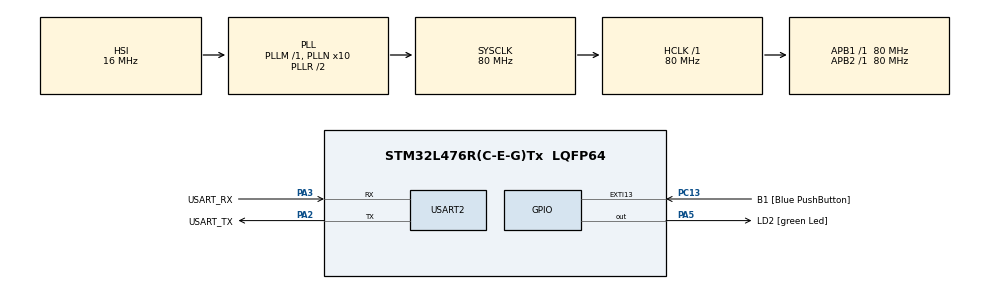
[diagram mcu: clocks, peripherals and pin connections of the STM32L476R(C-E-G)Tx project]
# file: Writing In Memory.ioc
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Mcu.Family=STM32L4
Mcu.Name=STM32L476R(C-E-G)Tx
Mcu.Package=LQFP64
NVIC.PriorityGroup=NVIC_PRIORITYGROUP_4
PA13\ (JTMS-SWDIO).GPIO_Label=TMS
PA13\ (JTMS-SWDIO).Mode=Serial_Wire
PA13\ (JTMS-SWDIO).Signal=SYS_JTMS-SWDIO
PA14\ (JTCK-SWCLK).GPIO_Label=TCK
PA14\ (JTCK-SWCLK).Mode=Serial_Wire
PA14\ (JTCK-SWCLK).Signal=SYS_JTCK-SWCLK
PA2.GPIO_Label=USART_TX
PA2.GPIO_Mode=GPIO_MODE_AF_PP
PA2.GPIO_PuPd=GPIO_NOPULL
PA2.GPIO_Speed=GPIO_SPEED_FREQ_VERY_HIGH
PA2.Mode=Asynchronous
PA2.Signal=USART2_TX
PA3.GPIO_Label=USART_RX
PA3.GPIO_Mode=GPIO_MODE_AF_PP
PA3.GPIO_PuPd=GPIO_NOPULL
PA3.GPIO_Speed=GPIO_SPEED_FREQ_VERY_HIGH
PA3.Mode=Asynchronous
PA3.Signal=USART2_RX
PA5.GPIO_Label=LD2 [green Led]
PA5.GPIO_ModeDefaultOutputPP=GPIO_MODE_OUTPUT_PP
PA5.GPIO_PuPd=GPIO_NOPULL
PA5.GPIO_Speed=GPIO_SPEED_FREQ_LOW
PA5.Signal=GPIO_Output
PB3\ (JTDO-TRACESWO).GPIO_Label=SWO
PB3\ (JTDO-TRACESWO).Signal=SYS_JTDO-SWO
PC13.GPIO_Label=B1 [Blue PushButton]
PC13.GPIO_ModeDefaultEXTI=GPIO_MODE_IT_FALLING
PC13.GPIO_PuPd=GPIO_NOPULL
PC13.Signal=GPXTI13
PC14-OSC32_IN\ (PC14).Mode=LSE-External-Oscillator
PC14-OSC32_IN\ (PC14).Signal=RCC_OSC32_IN
PC15-OSC32_OUT\ (PC15).Mode=LSE-External-Oscillator
PC15-OSC32_OUT\ (PC15).Signal=RCC_OSC32_OUT
PH0-OSC_IN\ (PH0).Signal=RCC_OSC_IN
PH1-OSC_OUT\ (PH1).Signal=RCC_OSC_OUT
ProjectManager.HeapSize=0x200
ProjectManager.StackSize=0x400
ProjectManager.TargetToolchain=STM32CubeIDE
RCC.ADCFreq_Value=64000000
RCC.AHBFreq_Value=80000000
RCC.APB1Freq_Value=80000000
RCC.APB1TimFreq_Value=80000000
RCC.APB2Freq_Value=80000000
RCC.APB2TimFreq_Value=80000000
RCC.CortexFreq_Value=80000000
RCC.HCLKFreq_Value=80000000
RCC.HSE_VALUE=8000000
RCC.HSI_VALUE=16000000
RCC.MSI_VALUE=4000000
RCC.PLLN=10
RCC.PLLSourceVirtual=RCC_PLLSOURCE_HSI
RCC.PREFETCH_ENABLE=1
RCC.SYSCLKFreq_VALUE=80000000
RCC.SYSCLKSource=RCC_SYSCLKSOURCE_PLLCLK
RCC.USBFreq_Value=64000000
RCC.VCOOutputFreq_Value=160000000
USART2.VirtualMode-Asynchronous=VM_ASYNC
board=NUCLEO-L476RG

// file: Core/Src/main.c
/* USER CODE BEGIN Header */
/**
  ******************************************************************************
  * @file           : main.c
  * @brief          : Main program body
  ******************************************************************************
  * @attention
  *
  * Copyright (c) 2026 STMicroelectronics.
  * All rights reserved.
  *
  * This software is licensed under terms that can be found in the LICENSE file
  * in the root directory of this software component.
  * If no LICENSE file comes with this software, it is provided AS-IS.
  *
  ******************************************************************************
  */
/* USER CODE END Header */
#include "main.h"

UART_HandleTypeDef huart2;

/* USER CODE BEGIN PV */
#define KEY1_VAL      0x45670123U
#define KEY2_VAL      0xCDEF89ABU

#define FLASH_ERRORS  0x0000C3FAU

/* USER CODE END PV */

void SystemClock_Config(void);
static void MX_GPIO_Init(void);
static void MX_USART2_UART_Init(void);

/* USER CODE BEGIN 0 */
static void flash_wait(void)   { while (FLASH->SR & FLASH_SR_BSY); }
static void flash_clear(void)  { FLASH->SR = FLASH_ERRORS | FLASH_SR_EOP; } /* écrire 1 efface */
static void flash_lock(void)   { FLASH->CR |= FLASH_CR_LOCK; }

static void flash_unlock(void)
{
    if (FLASH->CR & FLASH_CR_LOCK) {
        FLASH->KEYR = KEY1_VAL;
        FLASH->KEYR = KEY2_VAL;
    }
}

static uint32_t flash_write_dword(uint32_t addr, uint32_t lo, uint32_t hi)
{
    uint32_t sr;
    flash_wait();
    flash_clear();
    FLASH->CR |= FLASH_CR_PG;
    *(volatile uint32_t *)addr       = lo;   /* 1er mot  */
    *(volatile uint32_t *)(addr + 4) = hi;   /* 2e mot : déclenche la programmation */
    flash_wait();
    sr = FLASH->SR;
    flash_clear();
    FLASH->CR &= ~FLASH_CR_PG;
    return sr;
}

static uint32_t flash_mass_erase_bank2(void)
{
    uint32_t sr;
    flash_wait();
    flash_clear();
    FLASH->CR |= FLASH_CR_MER2;
    FLASH->CR |= FLASH_CR_STRT;
    flash_wait();
    sr = FLASH->SR;
    flash_clear();
    FLASH->CR &= ~FLASH_CR_MER2;
    return sr;
}

/* USER CODE END 0 */

int main(void)
{

  /* MCU Configuration--------------------------------------------------------*/

  /* Reset of all peripherals, Initializes the Flash interface and the Systick. */
  HAL_Init();

  /* Configure the system clock */
  SystemClock_Config();

  /* Initialize all configured peripherals */
  MX_GPIO_Init();
  MX_USART2_UART_Init();
  /* USER CODE BEGIN 2 */
  volatile uint32_t val_flash, val_ram, readback, old, sr;
  volatile uint32_t flash20000, flash80000, flash80004;

  val_flash = *(volatile uint32_t *)0x08000000;
  val_ram   = *(volatile uint32_t *)0x20000000;

  old = *(volatile uint32_t *)0x20000000;
  *(volatile uint32_t *)0x20000000 = 0xDEADBEEF;
  readback = *(volatile uint32_t *)0x20000000;     /* doit valoir 0xDEADBEEF */
  *(volatile uint32_t *)0x20000000 = old;

  *(volatile uint32_t *)0x08020000 = 0xDEADBEEF;
  readback = *(volatile uint32_t *)0x08020000;     /* inchangé */
  sr = FLASH->SR;                                  /* regarde les flags d'erreur */
  flash_clear();

  flash20000 = *(volatile uint32_t *)0x08020000;

  flash_unlock();
  sr = flash_write_dword(0x08080000, 0xDEADBEEF, 0xAABBCCDD);
  flash80000 = *(volatile uint32_t *)0x08080000;   /* 0xDEADBEEF */
  flash80004 = *(volatile uint32_t *)0x08080004;   /* 0xAABBCCDD */

  sr = flash_write_dword(0x08080000, 0xDEADBEEF, 0x01234567);
  flash80004 = *(volatile uint32_t *)0x08080004;   /* toujours 0xAABBCCDD */

  sr = flash_mass_erase_bank2(); /* repart d'une bank 2 vierge */
  flash80000 = *(volatile uint32_t *)0x08080000;   /* 0xFFFFFFFF */
  flash80004 = *(volatile uint32_t *)0x08080004;   /* 0xFFFFFFFF */

  sr = flash_write_dword(0x08080000, 0xDEADBEEF, 0xAABBCCDD);
  flash80000 = *(volatile uint32_t *)0x08080000;
  flash80004 = *(volatile uint32_t *)0x08080004;
  flash_lock();

  /* USER CODE END 2 */

  /* Infinite loop */
  while (1)
  {

  }
}

void SystemClock_Config(void)
{
  RCC_OscInitTypeDef RCC_OscInitStruct = {0};
  RCC_ClkInitTypeDef RCC_ClkInitStruct = {0};

  /** Configure the main internal regulator output voltage
  */
  if (HAL_PWREx_ControlVoltageScaling(PWR_REGULATOR_VOLTAGE_SCALE1) != HAL_OK)
  {
    Error_Handler();
  }

  /** Initializes the RCC Oscillators according to the specified parameters
  * in the RCC_OscInitTypeDef structure.
  */
  RCC_OscInitStruct.OscillatorType = RCC_OSCILLATORTYPE_HSI;
  RCC_OscInitStruct.HSIState = RCC_HSI_ON;
  RCC_OscInitStruct.HSICalibrationValue = RCC_HSICALIBRATION_DEFAULT;
  RCC_OscInitStruct.PLL.PLLState = RCC_PLL_ON;
  RCC_OscInitStruct.PLL.PLLSource = RCC_PLLSOURCE_HSI;
  RCC_OscInitStruct.PLL.PLLM = 1;
  RCC_OscInitStruct.PLL.PLLN = 10;
  RCC_OscInitStruct.PLL.PLLP = RCC_PLLP_DIV7;
  RCC_OscInitStruct.PLL.PLLQ = RCC_PLLQ_DIV2;
  RCC_OscInitStruct.PLL.PLLR = RCC_PLLR_DIV2;
  if (HAL_RCC_OscConfig(&RCC_OscInitStruct) != HAL_OK)
  {
    Error_Handler();
  }

  /** Initializes the CPU, AHB and APB buses clocks
  */
  RCC_ClkInitStruct.ClockType = RCC_CLOCKTYPE_HCLK|RCC_CLOCKTYPE_SYSCLK
                              |RCC_CLOCKTYPE_PCLK1|RCC_CLOCKTYPE_PCLK2;
  RCC_ClkInitStruct.SYSCLKSource = RCC_SYSCLKSOURCE_PLLCLK;
  RCC_ClkInitStruct.AHBCLKDivider = RCC_SYSCLK_DIV1;
  RCC_ClkInitStruct.APB1CLKDivider = RCC_HCLK_DIV1;
  RCC_ClkInitStruct.APB2CLKDivider = RCC_HCLK_DIV1;

  if (HAL_RCC_ClockConfig(&RCC_ClkInitStruct, FLASH_LATENCY_4) != HAL_OK)
  {
    Error_Handler();
  }
}

static void MX_USART2_UART_Init(void)
{

  huart2.Instance = USART2;
  huart2.Init.BaudRate = 115200;
  huart2.Init.WordLength = UART_WORDLENGTH_8B;
  huart2.Init.StopBits = UART_STOPBITS_1;
  huart2.Init.Parity = UART_PARITY_NONE;
  huart2.Init.Mode = UART_MODE_TX_RX;
  huart2.Init.HwFlowCtl = UART_HWCONTROL_NONE;
  huart2.Init.OverSampling = UART_OVERSAMPLING_16;
  huart2.Init.OneBitSampling = UART_ONE_BIT_SAMPLE_DISABLE;
  huart2.AdvancedInit.AdvFeatureInit = UART_ADVFEATURE_NO_INIT;
  if (HAL_UART_Init(&huart2) != HAL_OK)
  {
    Error_Handler();
  }

}

static void MX_GPIO_Init(void)
{
  GPIO_InitTypeDef GPIO_InitStruct = {0};

  /* GPIO Ports Clock Enable */
  __HAL_RCC_GPIOC_CLK_ENABLE();
  __HAL_RCC_GPIOH_CLK_ENABLE();
  __HAL_RCC_GPIOA_CLK_ENABLE();
  __HAL_RCC_GPIOB_CLK_ENABLE();

  /*Configure GPIO pin Output Level */
  HAL_GPIO_WritePin(LD2_GPIO_Port, LD2_Pin, GPIO_PIN_RESET);

  /*Configure GPIO pin : B1_Pin */
  GPIO_InitStruct.Pin = B1_Pin;
  GPIO_InitStruct.Mode = GPIO_MODE_IT_FALLING;
  GPIO_InitStruct.Pull = GPIO_NOPULL;
  HAL_GPIO_Init(B1_GPIO_Port, &GPIO_InitStruct);

  /*Configure GPIO pin : LD2_Pin */
  GPIO_InitStruct.Pin = LD2_Pin;
  GPIO_InitStruct.Mode = GPIO_MODE_OUTPUT_PP;
  GPIO_InitStruct.Pull = GPIO_NOPULL;
  GPIO_InitStruct.Speed = GPIO_SPEED_FREQ_LOW;
  HAL_GPIO_Init(LD2_GPIO_Port, &GPIO_InitStruct);

}

void Error_Handler(void)
{
  __disable_irq();
  while (1)
  {
  }
}
